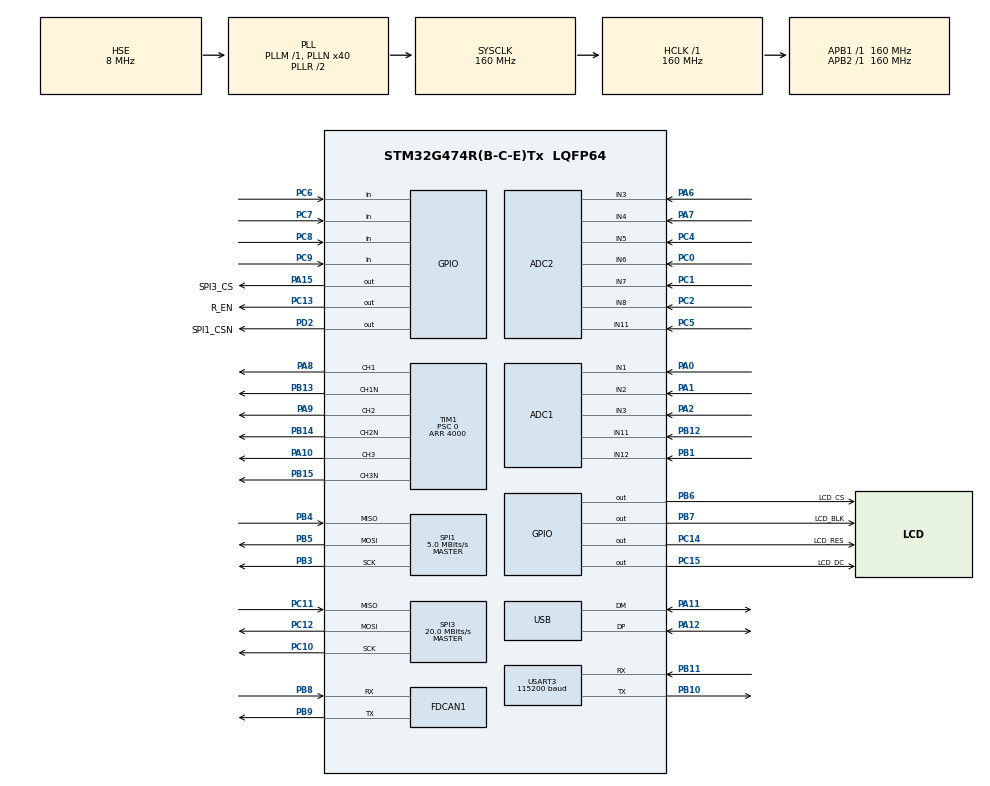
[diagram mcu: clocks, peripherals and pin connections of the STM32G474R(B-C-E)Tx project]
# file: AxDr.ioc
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ADC1.Channel-4\#ChannelRegularConversion=ADC_CHANNEL_11
ADC1.Channel-5\#ChannelRegularConversion=ADC_CHANNEL_12
ADC1.ContinuousConvMode=ENABLE
ADC1.DMAContinuousRequests=ENABLE
ADC1.EnableInjectedConversion=ENABLE
ADC1.EnableRegularConversion=ENABLE
ADC1.ExternalTrigInjecConv=ADC_EXTERNALTRIGINJEC_T1_CC4
ADC1.ExternalTrigInjecConvEdge=ADC_EXTERNALTRIGINJECCONV_EDGE_FALLING
ADC1.InjNumberOfConversion=3
ADC1.InjectedChannel-1\#ChannelInjectedConversion=ADC_CHANNEL_1
ADC1.InjectedChannel-2\#ChannelInjectedConversion=ADC_CHANNEL_2
ADC1.InjectedChannel-3\#ChannelInjectedConversion=ADC_CHANNEL_3
ADC1.InjectedOffsetNumber-1\#ChannelInjectedConversion=ADC_OFFSET_NONE
ADC1.InjectedOffsetNumber-2\#ChannelInjectedConversion=ADC_OFFSET_NONE
ADC1.InjectedOffsetNumber-3\#ChannelInjectedConversion=ADC_OFFSET_NONE
ADC1.InjectedRank-1\#ChannelInjectedConversion=1
ADC1.InjectedRank-2\#ChannelInjectedConversion=2
ADC1.InjectedRank-3\#ChannelInjectedConversion=3
ADC1.InjectedSamplingTime-1\#ChannelInjectedConversion=ADC_SAMPLETIME_47CYCLES_5
ADC1.InjectedSamplingTime-2\#ChannelInjectedConversion=ADC_SAMPLETIME_47CYCLES_5
ADC1.InjectedSamplingTime-3\#ChannelInjectedConversion=ADC_SAMPLETIME_47CYCLES_5
ADC1.NbrOfConversion=2
ADC1.NbrOfConversionFlag=1
ADC1.OffsetNumber-4\#ChannelRegularConversion=ADC_OFFSET_NONE
ADC1.OffsetNumber-5\#ChannelRegularConversion=ADC_OFFSET_NONE
ADC1.Rank-4\#ChannelRegularConversion=1
ADC1.Rank-5\#ChannelRegularConversion=2
ADC1.SamplingTime-4\#ChannelRegularConversion=ADC_SAMPLETIME_47CYCLES_5
ADC1.SamplingTime-5\#ChannelRegularConversion=ADC_SAMPLETIME_47CYCLES_5
ADC1.master=1
ADC2.Channel-11\#ChannelRegularConversion=ADC_CHANNEL_5
ADC2.Channel-12\#ChannelRegularConversion=ADC_CHANNEL_6
ADC2.Channel-13\#ChannelRegularConversion=ADC_CHANNEL_7
ADC2.Channel-14\#ChannelRegularConversion=ADC_CHANNEL_8
ADC2.ContinuousConvMode=ENABLE
ADC2.DMAContinuousRequests=ENABLE
ADC2.EnableInjectedConversion=ENABLE
ADC2.EnableRegularConversion=ENABLE
ADC2.ExternalTrigInjecConv=ADC_EXTERNALTRIGINJEC_T1_CC4
ADC2.ExternalTrigInjecConvEdge=ADC_EXTERNALTRIGINJECCONV_EDGE_FALLING
ADC2.InjNumberOfConversion=1
ADC2.InjectedChannel-1\#ChannelInjectedConversion=ADC_CHANNEL_11
ADC2.InjectedOffsetNumber-1\#ChannelInjectedConversion=ADC_OFFSET_NONE
ADC2.InjectedRank-1\#ChannelInjectedConversion=1
ADC2.InjectedSamplingTime-1\#ChannelInjectedConversion=ADC_SAMPLETIME_47CYCLES_5
ADC2.NbrOfConversion=4
ADC2.NbrOfConversionFlag=1
ADC2.OffsetNumber-11\#ChannelRegularConversion=ADC_OFFSET_NONE
ADC2.OffsetNumber-12\#ChannelRegularConversion=ADC_OFFSET_NONE
ADC2.OffsetNumber-13\#ChannelRegularConversion=ADC_OFFSET_NONE
ADC2.OffsetNumber-14\#ChannelRegularConversion=ADC_OFFSET_NONE
ADC2.Rank-11\#ChannelRegularConversion=1
ADC2.Rank-12\#ChannelRegularConversion=2
ADC2.Rank-13\#ChannelRegularConversion=3
ADC2.Rank-14\#ChannelRegularConversion=4
ADC2.SamplingTime-11\#ChannelRegularConversion=ADC_SAMPLETIME_47CYCLES_5
ADC2.SamplingTime-12\#ChannelRegularConversion=ADC_SAMPLETIME_47CYCLES_5
ADC2.SamplingTime-13\#ChannelRegularConversion=ADC_SAMPLETIME_47CYCLES_5
ADC2.SamplingTime-14\#ChannelRegularConversion=ADC_SAMPLETIME_47CYCLES_5
Dma.ADC1.3.Direction=DMA_PERIPH_TO_MEMORY
Dma.ADC1.3.EventEnable=DISABLE
Dma.ADC1.3.Instance=DMA1_Channel4
Dma.ADC1.3.MemDataAlignment=DMA_MDATAALIGN_HALFWORD
Dma.ADC1.3.MemInc=DMA_MINC_ENABLE
Dma.ADC1.3.Mode=DMA_CIRCULAR
Dma.ADC1.3.PeriphDataAlignment=DMA_PDATAALIGN_HALFWORD
Dma.ADC1.3.PeriphInc=DMA_PINC_DISABLE
Dma.ADC1.3.Polarity=HAL_DMAMUX_REQ_GEN_RISING
Dma.ADC1.3.Priority=DMA_PRIORITY_LOW
Dma.ADC1.3.RequestNumber=1
Dma.ADC1.3.SignalID=NONE
Dma.ADC1.3.SyncEnable=DISABLE
Dma.ADC1.3.SyncPolarity=HAL_DMAMUX_SYNC_NO_EVENT
Dma.ADC1.3.SyncRequestNumber=1
Dma.ADC1.3.SyncSignalID=NONE
Dma.ADC2.2.Direction=DMA_PERIPH_TO_MEMORY
Dma.ADC2.2.EventEnable=DISABLE
Dma.ADC2.2.Instance=DMA1_Channel3
Dma.ADC2.2.MemDataAlignment=DMA_MDATAALIGN_HALFWORD
Dma.ADC2.2.MemInc=DMA_MINC_ENABLE
Dma.ADC2.2.Mode=DMA_CIRCULAR
Dma.ADC2.2.PeriphDataAlignment=DMA_PDATAALIGN_HALFWORD
Dma.ADC2.2.PeriphInc=DMA_PINC_DISABLE
Dma.ADC2.2.Polarity=HAL_DMAMUX_REQ_GEN_RISING
Dma.ADC2.2.Priority=DMA_PRIORITY_LOW
Dma.ADC2.2.RequestNumber=1
Dma.ADC2.2.SignalID=NONE
Dma.ADC2.2.SyncEnable=DISABLE
Dma.ADC2.2.SyncPolarity=HAL_DMAMUX_SYNC_NO_EVENT
Dma.ADC2.2.SyncRequestNumber=1
Dma.ADC2.2.SyncSignalID=NONE
Dma.Request0=USART3_RX
Dma.Request1=USART3_TX
Dma.Request2=ADC2
Dma.Request3=ADC1
Dma.USART3_RX.0.Direction=DMA_PERIPH_TO_MEMORY
Dma.USART3_RX.0.EventEnable=DISABLE
Dma.USART3_RX.0.Instance=DMA1_Channel1
Dma.USART3_RX.0.MemDataAlignment=DMA_MDATAALIGN_BYTE
Dma.USART3_RX.0.MemInc=DMA_MINC_ENABLE
Dma.USART3_RX.0.Mode=DMA_NORMAL
Dma.USART3_RX.0.PeriphDataAlignment=DMA_PDATAALIGN_BYTE
Dma.USART3_RX.0.PeriphInc=DMA_PINC_DISABLE
Dma.USART3_RX.0.Polarity=HAL_DMAMUX_REQ_GEN_RISING
Dma.USART3_RX.0.Priority=DMA_PRIORITY_LOW
Dma.USART3_RX.0.RequestNumber=1
Dma.USART3_RX.0.SignalID=NONE
Dma.USART3_RX.0.SyncEnable=DISABLE
Dma.USART3_RX.0.SyncPolarity=HAL_DMAMUX_SYNC_NO_EVENT
Dma.USART3_RX.0.SyncRequestNumber=1
Dma.USART3_RX.0.SyncSignalID=NONE
Dma.USART3_TX.1.Direction=DMA_MEMORY_TO_PERIPH
Dma.USART3_TX.1.EventEnable=DISABLE
Dma.USART3_TX.1.Instance=DMA1_Channel2
Dma.USART3_TX.1.MemDataAlignment=DMA_MDATAALIGN_BYTE
Dma.USART3_TX.1.MemInc=DMA_MINC_ENABLE
Dma.USART3_TX.1.Mode=DMA_NORMAL
Dma.USART3_TX.1.PeriphDataAlignment=DMA_PDATAALIGN_BYTE
Dma.USART3_TX.1.PeriphInc=DMA_PINC_DISABLE
Dma.USART3_TX.1.Polarity=HAL_DMAMUX_REQ_GEN_RISING
Dma.USART3_TX.1.Priority=DMA_PRIORITY_LOW
Dma.USART3_TX.1.RequestNumber=1
Dma.USART3_TX.1.SignalID=NONE
Dma.USART3_TX.1.SyncEnable=DISABLE
Dma.USART3_TX.1.SyncPolarity=HAL_DMAMUX_SYNC_NO_EVENT
Dma.USART3_TX.1.SyncRequestNumber=1
Dma.USART3_TX.1.SyncSignalID=NONE
FDCAN1.AutoRetransmission=ENABLE
FDCAN1.CalculateBaudRateNominal=1000000
FDCAN1.CalculateTimeBitNominal=1000
FDCAN1.CalculateTimeQuantumNominal=12.5
FDCAN1.DataPrescaler=1
FDCAN1.DataSyncJumpWidth=1
FDCAN1.DataTimeSeg1=14
FDCAN1.DataTimeSeg2=1
FDCAN1.ExtFiltersNbr=8
FDCAN1.FrameFormat=FDCAN_FRAME_FD_BRS
FDCAN1.NominalPrescaler=1
FDCAN1.NominalSyncJumpWidth=20
FDCAN1.NominalTimeSeg1=59
FDCAN1.NominalTimeSeg2=20
FDCAN1.ProtocolException=DISABLE
FDCAN1.StdFiltersNbr=16
FDCAN1.TransmitPause=ENABLE
Mcu.Family=STM32G4
Mcu.Name=STM32G474R(B-C-E)Tx
Mcu.Package=LQFP64
NVIC.ADC1_2_IRQn=true\:0\:0\:false\:false\:true\:true\:true\:true
NVIC.DMA1_Channel1_IRQn=true\:0\:0\:false\:false\:true\:false\:true\:true
NVIC.DMA1_Channel2_IRQn=true\:0\:0\:false\:false\:true\:false\:true\:true
NVIC.DMA1_Channel3_IRQn=true\:0\:0\:false\:false\:true\:false\:true\:true
NVIC.DMA1_Channel4_IRQn=true\:0\:0\:false\:false\:true\:false\:true\:true
NVIC.FDCAN1_IT0_IRQn=true\:0\:0\:false\:false\:true\:true\:true\:true
NVIC.FDCAN1_IT1_IRQn=true\:0\:0\:false\:false\:true\:true\:true\:true
NVIC.PriorityGroup=NVIC_PRIORITYGROUP_4
NVIC.TIM1_UP_TIM16_IRQn=true\:0\:0\:false\:false\:true\:true\:true\:true
NVIC.USART3_IRQn=true\:0\:0\:false\:false\:true\:true\:true\:true
NVIC.USB_LP_IRQn=true\:0\:0\:false\:false\:true\:false\:true\:true
PA0.Mode=IN1-Single-Ended
PA0.Signal=ADC1_IN1
PA1.Mode=IN2-Single-Ended
PA1.Signal=ADC1_IN2
PA10.Signal=S_TIM1_CH3
PA11.Mode=Device
PA11.Signal=USB_DM
PA12.Mode=Device
PA12.Signal=USB_DP
PA13.Mode=Serial_Wire
PA13.Signal=SYS_JTMS-SWDIO
PA14.Mode=Serial_Wire
PA14.Signal=SYS_JTCK-SWCLK
PA15.GPIO_Label=SPI3_CS
PA15.GPIO_PuPd=GPIO_PULLUP
PA15.Signal=GPIO_Output
PA2.Mode=IN3-Single-Ended
PA2.Signal=ADC1_IN3
PA6.Mode=IN3-Single-Ended
PA6.Signal=ADC2_IN3
PA7.Mode=IN4-Single-Ended
PA7.Signal=ADC2_IN4
PA8.Signal=S_TIM1_CH1
PA9.Signal=S_TIM1_CH2
PB1.Mode=IN12-Single-Ended
PB1.Signal=ADC1_IN12
PB10.Mode=Asynchronous
PB10.Signal=USART3_TX
PB11.Mode=Asynchronous
PB11.Signal=USART3_RX
PB12.Mode=IN11-Single-Ended
PB12.Signal=ADC1_IN11
PB13.Mode=PWM Generation1 CH1 CH1N
PB13.Signal=TIM1_CH1N
PB14.Mode=PWM Generation2 CH2 CH2N
PB14.Signal=TIM1_CH2N
PB15.Mode=PWM Generation3 CH3 CH3N
PB15.Signal=TIM1_CH3N
PB3.Mode=Full_Duplex_Master
PB3.Signal=SPI1_SCK
PB4.Mode=Full_Duplex_Master
PB4.Signal=SPI1_MISO
PB5.Mode=Full_Duplex_Master
PB5.Signal=SPI1_MOSI
PB6.GPIO_Label=LCD_CS
PB6.GPIO_PuPd=GPIO_PULLDOWN
PB6.Signal=GPIO_Output
PB7.GPIO_Label=LCD_BLK
PB7.GPIO_PuPd=GPIO_PULLDOWN
PB7.Signal=GPIO_Output
PB8-BOOT0.Mode=FDCAN_Activate
PB8-BOOT0.Signal=FDCAN1_RX
PB9.Mode=FDCAN_Activate
PB9.Signal=FDCAN1_TX
PC0.Mode=IN6-Single-Ended
PC0.Signal=ADC2_IN6
PC1.Mode=IN7-Single-Ended
PC1.Signal=ADC2_IN7
PC10.Mode=Full_Duplex_Master
PC10.Signal=SPI3_SCK
PC11.Mode=Full_Duplex_Master
PC11.Signal=SPI3_MISO
PC12.Mode=Full_Duplex_Master
PC12.Signal=SPI3_MOSI
PC13.GPIO_Label=R_EN
PC13.Signal=GPIO_Output
PC14-OSC32_IN.GPIO_Label=LCD_RES
PC14-OSC32_IN.GPIO_PuPd=GPIO_PULLUP
PC14-OSC32_IN.PinState=GPIO_PIN_SET
PC14-OSC32_IN.Signal=GPIO_Output
PC15-OSC32_OUT.GPIO_Label=LCD_DC
PC15-OSC32_OUT.GPIO_PuPd=GPIO_PULLDOWN
PC15-OSC32_OUT.PinState=GPIO_PIN_SET
PC15-OSC32_OUT.Signal=GPIO_Output
PC2.Mode=IN8-Single-Ended
PC2.Signal=ADC2_IN8
PC4.Mode=IN5-Single-Ended
PC4.Signal=ADC2_IN5
PC5.Mode=IN11-Single-Ended
PC5.Signal=ADC2_IN11
PC6.GPIO_PuPd=GPIO_PULLUP
PC6.Signal=GPIO_Input
PC7.GPIO_PuPd=GPIO_PULLUP
PC7.Signal=GPIO_Input
PC8.GPIO_PuPd=GPIO_PULLUP
PC8.Signal=GPIO_Input
PC9.GPIO_PuPd=GPIO_PULLUP
PC9.Signal=GPIO_Input
PD2.GPIO_Label=SPI1_CSN
PD2.GPIO_PuPd=GPIO_PULLDOWN
PD2.Signal=GPIO_Output
PF0-OSC_IN.Mode=HSE-External-Oscillator
PF0-OSC_IN.Signal=RCC_OSC_IN
PF1-OSC_OUT.Mode=HSE-External-Oscillator
PF1-OSC_OUT.Signal=RCC_OSC_OUT
ProjectManager.HeapSize=0x200
ProjectManager.StackSize=0x400
ProjectManager.TargetToolchain=MDK-ARM V5.27
RCC.ADC12Freq_Value=160000000
RCC.ADC345Freq_Value=160000000
RCC.AHBFreq_Value=160000000
RCC.APB1Freq_Value=160000000
RCC.APB1TimFreq_Value=160000000
RCC.APB2Freq_Value=160000000
RCC.APB2TimFreq_Value=160000000
RCC.CK48CLockSelection=RCC_USBCLKSOURCE_HSI48
RCC.CortexFreq_Value=160000000
RCC.EXTERNAL_CLOCK_VALUE=12288000
RCC.FDCANCLockSelection=RCC_FDCANCLKSOURCE_PLL
RCC.HCLKFreq_Value=160000000
RCC.HSE_VALUE=8000000
RCC.HSI48_VALUE=48000000
RCC.HSI_VALUE=16000000
RCC.LSE_VALUE=32768
RCC.PLLN=40
RCC.PLLQ=RCC_PLLQ_DIV4
RCC.PLLSourceVirtual=RCC_PLLSOURCE_HSE
RCC.SYSCLKFreq_VALUE=160000000
RCC.SYSCLKSource=RCC_SYSCLKSOURCE_PLLCLK
RCC.USBFreq_Value=48000000
RCC.VCOOutputFreq_Value=320000000
SH.S_TIM1_CH1.0=TIM1_CH1,PWM Generation1 CH1 CH1N
SH.S_TIM1_CH2.0=TIM1_CH2,PWM Generation2 CH2 CH2N
SH.S_TIM1_CH3.0=TIM1_CH3,PWM Generation3 CH3 CH3N
SPI1.BaudRatePrescaler=SPI_BAUDRATEPRESCALER_32
SPI1.CLKPhase=SPI_PHASE_2EDGE
SPI1.CLKPolarity=SPI_POLARITY_HIGH
SPI1.CRCCalculation=SPI_CRCCALCULATION_DISABLE
SPI1.CalculateBaudRate=5.0 MBits/s
SPI1.DataSize=SPI_DATASIZE_16BIT
SPI1.Direction=SPI_DIRECTION_2LINES
SPI1.FirstBit=SPI_FIRSTBIT_MSB
SPI1.Mode=SPI_MODE_MASTER
SPI1.NSS=SPI_NSS_SOFT
SPI1.TIMode=SPI_TIMODE_DISABLE
SPI1.VirtualType=VM_MASTER
SPI3.BaudRatePrescaler=SPI_BAUDRATEPRESCALER_8
SPI3.CalculateBaudRate=20.0 MBits/s
SPI3.DataSize=SPI_DATASIZE_8BIT
SPI3.Direction=SPI_DIRECTION_2LINES
SPI3.Mode=SPI_MODE_MASTER
SPI3.VirtualType=VM_MASTER
TIM1.AutoReloadPreload=TIM_AUTORELOAD_PRELOAD_DISABLE
TIM1.AutomaticOutput=TIM_AUTOMATICOUTPUT_DISABLE
TIM1.Break2Filter=0
TIM1.Break2Polarity=TIM_BREAK2POLARITY_HIGH
TIM1.Break2State=TIM_BREAK2_DISABLE
TIM1.BreakFilter=0
TIM1.BreakPolarity=TIM_BREAKPOLARITY_HIGH
TIM1.BreakState=TIM_BREAK_DISABLE
TIM1.Channel-PWM\ Generation1\ CH1\ CH1N=TIM_CHANNEL_1
TIM1.Channel-PWM\ Generation2\ CH2\ CH2N=TIM_CHANNEL_2
TIM1.Channel-PWM\ Generation3\ CH3\ CH3N=TIM_CHANNEL_3
TIM1.Channel-PWM\ Generation4\ No\ Output=TIM_CHANNEL_4
TIM1.ClearInputSource=TIM_CLEARINPUTSOURCE_NONE
TIM1.ClockDivision=TIM_CLOCKDIVISION_DIV1
TIM1.CounterMode=TIM_COUNTERMODE_CENTERALIGNED2
TIM1.Dithering=Disable
TIM1.LockLevel=TIM_LOCKLEVEL_OFF
TIM1.OC4Preload_PWM=ENABLE
TIM1.OCFastMode_PWM-PWM\ Generation4\ No\ Output=TIM_OCFAST_DISABLE
TIM1.OCIdleState_4=TIM_OCIDLESTATE_RESET
TIM1.OCMode_PWM-PWM\ Generation4\ No\ Output=TIM_OCMODE_PWM1
TIM1.OCPolarity_4=TIM_OCPOLARITY_HIGH
TIM1.OffStateIDLEMode=TIM_OSSI_DISABLE
TIM1.PeriodNoDither=4000
TIM1.Prescaler=0
TIM1.PulseNoDither_4=0
TIM1.RepetitionCounter=0
TIM1.SourceBRK2COMP1=TIM_BREAKINPUTSOURCE_DISABLE
TIM1.SourceBRK2COMP2=TIM_BREAKINPUTSOURCE_DISABLE
TIM1.SourceBRK2COMP3=TIM_BREAKINPUTSOURCE_DISABLE
TIM1.SourceBRK2COMP4=TIM_BREAKINPUTSOURCE_DISABLE
TIM1.SourceBRK2DigInput=TIM_BREAKINPUTSOURCE_DISABLE
TIM1.SourceBRKCOMP1=TIM_BREAKINPUTSOURCE_DISABLE
TIM1.SourceBRKCOMP2=TIM_BREAKINPUTSOURCE_DISABLE
TIM1.SourceBRKCOMP3=TIM_BREAKINPUTSOURCE_DISABLE
TIM1.SourceBRKCOMP4=TIM_BREAKINPUTSOURCE_DISABLE
TIM1.SourceBRKDigInput=TIM_BREAKINPUTSOURCE_DISABLE
TIM1.TIM_MasterOutputTrigger=TIM_TRGO_RESET
TIM1.TIM_MasterOutputTrigger2=TIM_TRGO2_RESET
TIM1.TIM_MasterSlaveMode=TIM_MASTERSLAVEMODE_DISABLE
TIM3.Prescaler=0
USART3.BaudRate=115200
USART3.VirtualMode-Asynchronous=VM_ASYNC
USB.DeviceSpeed=PCD_SPEED_FULL
USB.Sof_enable=DISABLE
USB.battery_charging_enable=DISABLE
USB.low_power_enable=DISABLE
USB.lpm_enable=DISABLE
USB.phy_itface=PCD_PHY_EMBEDDED
USB_DEVICE.CLASS_NAME_FS=CDC
USB_DEVICE.VirtualMode=Cdc
USB_DEVICE.VirtualModeFS=Cdc_FS
VP_SYS_VS_DBSignals.Mode=DisableDeadBatterySignals
VP_TIM1_VS_ClockSourceINT.Mode=Internal
VP_TIM1_VS_no_output4.Mode=PWM Generation4 No Output
VP_TIM3_VS_ClockSourceINT.Mode=Internal
VP_USB_DEVICE_VS_USB_DEVICE_CDC_FS.Mode=CDC_FS
board=custom

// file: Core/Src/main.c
/* USER CODE BEGIN Header */
/**
  ******************************************************************************
  * @file           : main.c
  * @brief          : Main program body
  ******************************************************************************
  * @attention
  *
  * Copyright (c) 2025 STMicroelectronics.
  * All rights reserved.
  *
  * This software is licensed under terms that can be found in the LICENSE file
  * in the root directory of this software component.
  * If no LICENSE file comes with this software, it is provided AS-IS.
  *
  ******************************************************************************
  */
/* USER CODE END Header */
#include "main.h"
#include "adc.h"
#include "dma.h"
#include "fdcan.h"
#include "spi.h"
#include "tim.h"
#include "usart.h"
#include "usb_device.h"
#include "gpio.h"

/* USER CODE BEGIN Includes */
#include "common.h"
#include "modlue.h"
/* USER CODE END Includes */

void SystemClock_Config(void);

/* USER CODE BEGIN 0 */
uint16_t adc1_buff[2];
uint16_t adc2_buff[4];
/* USER CODE END 0 */

int main(void)
{

  /* MCU Configuration--------------------------------------------------------*/

  /* Reset of all peripherals, Initializes the Flash interface and the Systick. */
  HAL_Init();

  /* Configure the system clock */
  SystemClock_Config();

  /* Initialize all configured peripherals */
  MX_GPIO_Init();
  MX_DMA_Init();
  MX_SPI1_Init();
  MX_TIM1_Init();
  MX_TIM3_Init();
  MX_USB_Device_Init();
  MX_ADC1_Init();
  MX_ADC2_Init();
  MX_USART3_UART_Init();
  MX_FDCAN1_Init();
  MX_SPI3_Init();
  /* USER CODE BEGIN 2 */
  HAL_Delay(1000);

  HAL_TIM_Base_Start(&htim3);
  // HAL_TIM_Base_Start_IT(&htim1);

  HAL_ADCEx_Calibration_Start(&hadc1, ADC_SINGLE_ENDED);
  HAL_ADCEx_Calibration_Start(&hadc2, ADC_SINGLE_ENDED);
  HAL_ADCEx_InjectedStart_IT(&hadc1);
  HAL_ADCEx_InjectedStart(&hadc2);

  HAL_ADC_Start_DMA(&hadc1, (uint32_t *)adc1_buff, 2);
  HAL_ADC_Start_DMA(&hadc2, (uint32_t *)adc2_buff, 4);

  HAL_TIM_PWM_Start(&htim1, TIM_CHANNEL_4);
  __HAL_TIM_SET_COMPARE(&htim1, TIM_CHANNEL_4, 3900);

  pmsm_init();
  foc_pwm_start();

  /* USER CODE END 2 */

  /* Infinite loop */
  while (1)
  {

  }
}

void SystemClock_Config(void)
{
  RCC_OscInitTypeDef RCC_OscInitStruct = {0};
  RCC_ClkInitTypeDef RCC_ClkInitStruct = {0};

  /** Configure the main internal regulator output voltage
  */
  HAL_PWREx_ControlVoltageScaling(PWR_REGULATOR_VOLTAGE_SCALE1_BOOST);

  /** Initializes the RCC Oscillators according to the specified parameters
  * in the RCC_OscInitTypeDef structure.
  */
  RCC_OscInitStruct.OscillatorType = RCC_OSCILLATORTYPE_HSI48|RCC_OSCILLATORTYPE_HSE;
  RCC_OscInitStruct.HSEState = RCC_HSE_ON;
  RCC_OscInitStruct.HSI48State = RCC_HSI48_ON;
  RCC_OscInitStruct.PLL.PLLState = RCC_PLL_ON;
  RCC_OscInitStruct.PLL.PLLSource = RCC_PLLSOURCE_HSE;
  RCC_OscInitStruct.PLL.PLLM = RCC_PLLM_DIV1;
  RCC_OscInitStruct.PLL.PLLN = 40;
  RCC_OscInitStruct.PLL.PLLP = RCC_PLLP_DIV2;
  RCC_OscInitStruct.PLL.PLLQ = RCC_PLLQ_DIV4;
  RCC_OscInitStruct.PLL.PLLR = RCC_PLLR_DIV2;
  if (HAL_RCC_OscConfig(&RCC_OscInitStruct) != HAL_OK)
  {
    Error_Handler();
  }

  /** Initializes the CPU, AHB and APB buses clocks
  */
  RCC_ClkInitStruct.ClockType = RCC_CLOCKTYPE_HCLK|RCC_CLOCKTYPE_SYSCLK
                              |RCC_CLOCKTYPE_PCLK1|RCC_CLOCKTYPE_PCLK2;
  RCC_ClkInitStruct.SYSCLKSource = RCC_SYSCLKSOURCE_PLLCLK;
  RCC_ClkInitStruct.AHBCLKDivider = RCC_SYSCLK_DIV1;
  RCC_ClkInitStruct.APB1CLKDivider = RCC_HCLK_DIV1;
  RCC_ClkInitStruct.APB2CLKDivider = RCC_HCLK_DIV1;

  if (HAL_RCC_ClockConfig(&RCC_ClkInitStruct, FLASH_LATENCY_4) != HAL_OK)
  {
    Error_Handler();
  }
}

void Error_Handler(void)
{
  __disable_irq();
  while (1)
  {
  }
}
